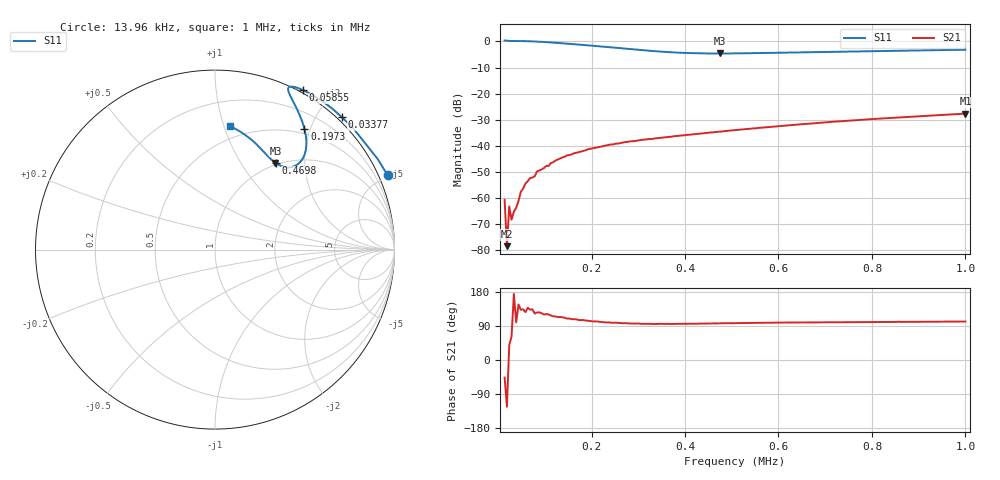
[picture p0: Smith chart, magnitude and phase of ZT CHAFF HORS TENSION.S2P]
!Agilent Technologies,E5071C,MY46109397,A.09.54
!Date: Mon Jan 01 02:08:51 2001
!Data & Calibration Information:
!Freq	S11:SOLT1(ON)	S21:RESPT(ON)	S12:NONE(--)	S22:NONE(--)
# Hz S RI R 50
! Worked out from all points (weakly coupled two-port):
!   200 points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, 13.96 kHz to 1 MHz, reference 50 ohm
!   highest |S21| = -27.69 dB at 1 MHz (marker M1); lowest = -78.6 dB at 18.91 kHz (marker M2)
!   lowest |S11| = -4.6 dB at 474.8 kHz (marker M3), VSWR 3.86, Z = 48.6 + j71.8 ohm
!   |S11| at or under -10 dB: nowhere
!   S12 and S22 are empty: the file has one direction only
!   S11 on the Smith chart (normalised r, x): 13.96 kHz: -0.56, +4.78; 33.77 kHz: -0.07, +2.35; 58.55 kHz: -0.03, +1.69; 197.3 kHz: 0.43, +1.91; 469.8 kHz: 0.98, +1.44; 1 MHz: 0.39, +1.05
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13955  0.9615 0.4148  0.00063 -0.000658  0 0  0 0
18910  0.9072 0.5034  -6.47e-05 -9.81e-05  0 0  0 0
23865  0.8331 0.5973  0.00053 0.000429  0 0  0 0
28820  0.7698 0.676  0.000178 0.000334  0 0  0 0
33775  0.7082 0.7366  -0.000537 5.22e-05  0 0  0 0
38730  0.6521 0.7862  -0.000103 0.000633  0 0  0 0
48640  0.5581 0.8524  -0.000876 0.000956  0 0  0 0
58550  0.4906 0.8885  -0.00111 0.00151  0 0  0 0
68460  0.4463 0.9051  -0.00162 0.00175  0 0  0 0
78370  0.4207 0.9083  -0.00139 0.00217  0 0  0 0
83325  0.4135 0.9063  -0.00184 0.00261  0 0  0 0
113055  0.4157 0.8653  -0.00213 0.00412  0 0  0 0
182425  0.4884 0.7056  -0.00214 0.00766  0 0  0 0
197290  0.4984 0.6719  -0.00191 0.00849  0 0  0 0
276570  0.4977 0.5257  -0.00139 0.0117  0 0  0 0
345940  0.441 0.4645  -0.00134 0.014  0 0  0 0
469815  0.3402 0.4806  -0.00215 0.0183  0 0  0 0
474770  0.337 0.4828  -0.00218 0.0185  0 0  0 0
509455  0.3167 0.4987  -0.00256 0.0199  0 0  0 0
672970  0.2418 0.5766  -0.00432 0.0264  0 0  0 0
836485  0.1673 0.6393  -0.00621 0.0334  0 0  0 0
1000000  0.0816 0.69  -0.00823 0.0404  0 0  0 0
